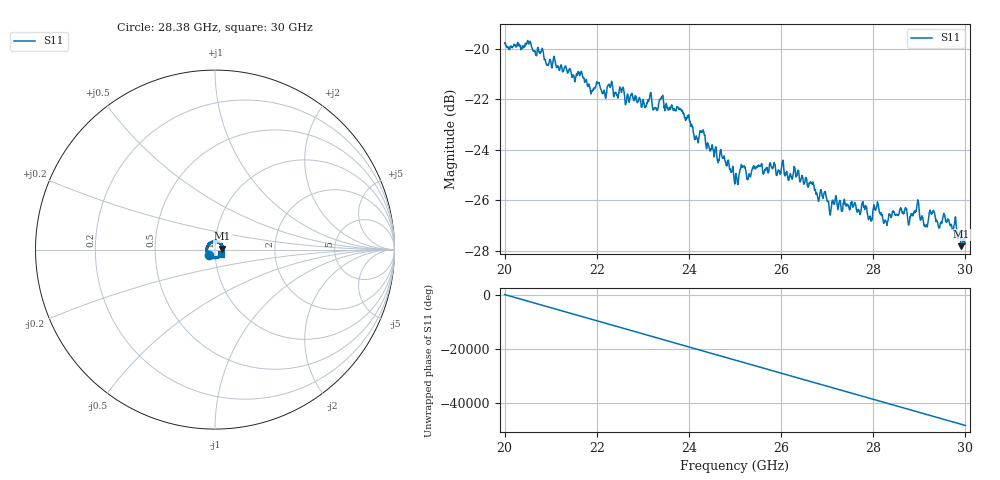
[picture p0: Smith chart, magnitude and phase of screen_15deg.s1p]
#  HZ  S  RI  R  50.00
! Rohde & Schwarz ZVA40 4Ports - Version 3.90 - 1145.1110k42 SN: 100403
! Date: 2023-09-30 06:16:40
! Measurement: S12
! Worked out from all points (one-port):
!   5001 points, 20 GHz to 30 GHz, reference 50 ohm
!   lowest |S11| = -27.8 dB at 29.91 GHz (marker M1), VSWR 1.08, Z = 54.2 + j0.529 ohm
!   |S11| at or under -10 dB: start of sweep to end of sweep
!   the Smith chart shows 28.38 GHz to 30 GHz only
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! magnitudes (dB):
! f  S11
! 20 GHz  -19.8
! 20.53 GHz  -19.8
! 21.25 GHz  -20.8
! 21.64 GHz  -21.0
! 21.89 GHz  -21.7
! 22.5 GHz  -21.5
! 23.75 GHz  -22.3
! 24.01 GHz  -22.8
! 24.16 GHz  -23.5
! 24.3 GHz  -23.3
! 25 GHz  -25.3
! 25.54 GHz  -24.7
! 26.25 GHz  -25.1
! 26.67 GHz  -25.4
! 27.05 GHz  -26.4
! 27.5 GHz  -26.3
! 27.81 GHz  -26.3
! 27.93 GHz  -26.6
! 28.07 GHz  -26.3
! 28.27 GHz  -26.8
! 28.75 GHz  -26.8
! 28.95 GHz  -26.2
! 29.14 GHz  -27.1
! 29.28 GHz  -26.5
! 29.41 GHz  -27.0
! 29.76 GHz  -26.9
! 29.91 GHz  -27.8
! 30 GHz  -27.7
